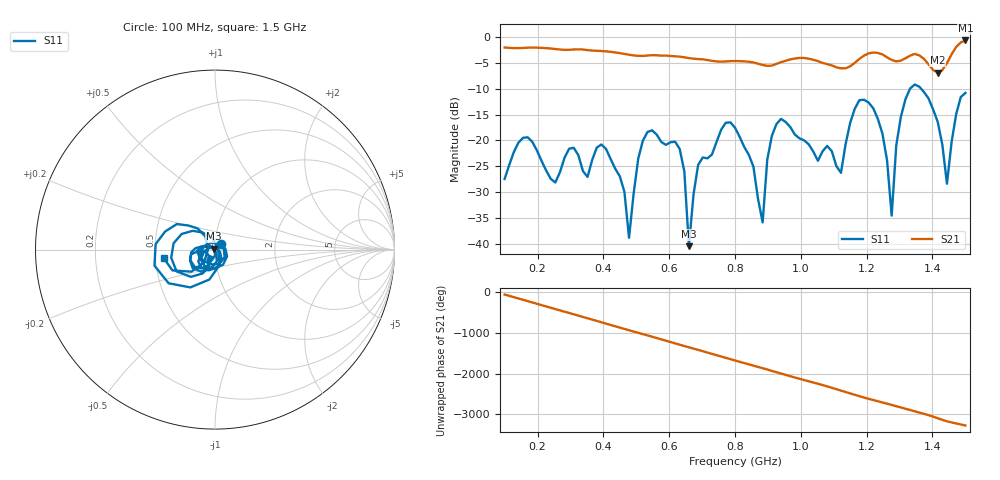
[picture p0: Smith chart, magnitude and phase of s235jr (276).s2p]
! NanoVNA-App
! Date: 2025-09-25 15:06:18
! Start: 100MHz Stop: 1,5GHz Points: 101
! S-Parameter data: F S11 S21 S12 S22
# Hz S RI R 50
!  Frequency  S11_Real  S11_Imag  S21_Real  S21_Imag  S12_Real  S12_Imag  S22_Real  S22_Imag
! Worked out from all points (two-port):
!   101 points, 100 MHz to 1.5 GHz, reference 50 ohm
!   highest |S21| = -0.60 dB at 1.5 GHz (marker M1); lowest = -6.8 dB at 1.416 GHz (marker M2)
!   |S21| within 3 dB of the highest: start of sweep to 514.8 MHz; 521.8 MHz to 601.6 MHz (79.86 MHz wide, 14.2 % of centre) (the widest 2 of 5)
!   lowest |S11| = -40.5 dB at 660 MHz (marker M3), VSWR 1.02, Z = 49.2 + j0.554 ohm
!   |S11| at or under -10 dB: start of sweep to 1.331 GHz; 1.366 GHz to end of sweep
!   S12 and S22 are empty: the file has one direction only
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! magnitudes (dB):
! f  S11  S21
! 100 MHz  -27.5  -2.0
! 170 MHz  -19.4  -2.0
! 338 MHz  -25.9  -2.4
! 408 MHz  -21.6  -2.7
! 478 MHz  -38.9  -3.4
! 520 MHz  -20.1  -3.6
! 576 MHz  -20.3  -3.5
! 632 MHz  -21.7  -3.7
! 660 MHz  -40.5  -4.0
! 688 MHz  -24.7  -4.2
! 800 MHz  -17.5  -4.6
! 884 MHz  -35.9  -5.4
! 926 MHz  -16.8  -5.1
! 1.038 GHz  -22.2  -4.3
! 1.122 GHz  -26.3  -6.0
! 1.206 GHz  -12.6  -3.1
! 1.276 GHz  -34.6  -4.4
! 1.29 GHz  -21.0  -4.7
! 1.332 GHz  -9.9  -3.5
! 1.416 GHz  -16.4  -6.8
! 1.444 GHz  -28.4  -5.0
! 1.5 GHz  -10.8  -0.6
